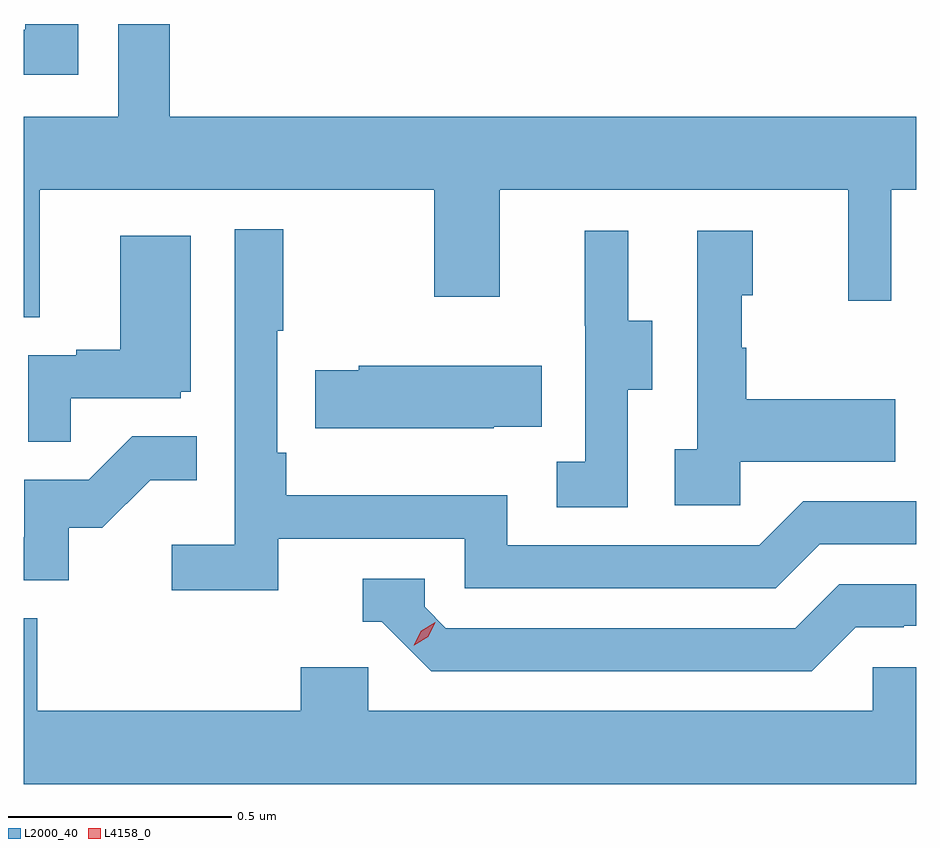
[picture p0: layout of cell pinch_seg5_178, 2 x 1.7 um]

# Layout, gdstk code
import gdstk
lib = gdstk.Library(unit=1e-6, precision=1e-09)
def P(c, l, *ps):  # polygons
    for p in ps: c.add(gdstk.Polygon(p, *l))
L2000_40 = (2000, 40)
L4158_0 = (4158, 0)

pinch_seg5_178 = lib.new_cell('pinch_seg5_178')
P(pinch_seg5_178, L2000_40, [(1115.545,883.4),(1116.43,883.4),(1116.43,883.161),(1116.577,883.161),(1116.577,883.4),(1117.358,883.4),(1117.358,883.152),(1117.455,883.152),(1117.455,883.4),(1117.51,883.4),(1117.51,883.564),(1115.837,883.564),(1115.837,883.772),(1115.721,883.772),(1115.721,883.564),(1115.51,883.564),(1115.51,883.114),(1115.545,883.114)],
  [(1115.632,883.772),(1115.513,883.772),(1115.513,883.759),(1115.51,883.759),(1115.51,883.658),(1115.632,883.658)],
  [(1116.08,882.618),(1116.498,882.618),(1116.498,882.507),(1117.195,882.507),(1117.294,882.606),(1117.51,882.606),(1117.51,882.702),(1117.257,882.702),(1117.158,882.603),(1116.594,882.603),(1116.594,882.715),(1116.098,882.715),(1116.098,882.811),(1116.078,882.811),(1116.078,883.084),(1116.091,883.084),(1116.091,883.312),(1115.982,883.312),(1115.982,882.604),(1115.841,882.604),(1115.841,882.502),(1116.08,882.502)],
  [(1117.116,882.791),(1117.463,882.791),(1117.463,882.931),(1117.129,882.931),(1117.129,883.046),(1117.119,883.046),(1117.119,883.164),(1117.144,883.164),(1117.144,883.309),(1117.02,883.309),(1117.02,882.818),(1116.969,882.818),(1116.969,882.693),(1117.116,882.693)],
  [(1116.864,882.952),(1116.919,882.952),(1116.919,883.107),(1116.865,883.107),(1116.865,883.309),(1116.767,883.309),(1116.767,883.095),(1116.768,883.095),(1116.768,882.791),(1116.705,882.791),(1116.705,882.688),(1116.864,882.688)],
  [(1115.615,882.933),(1115.862,882.933),(1115.862,882.948),(1115.884,882.948),(1115.884,883.297),(1115.726,883.297),(1115.726,883.042),(1115.627,883.042),(1115.627,883.029),(1115.52,883.029),(1115.52,882.835),(1115.615,882.835)],
  [(1116.563,882.869),(1116.671,882.869),(1116.671,883.006),(1116.261,883.006),(1116.261,882.996),(1116.163,882.996),(1116.163,882.866),(1116.563,882.866)],
  [(1115.61,882.642),(1115.686,882.642),(1115.793,882.749),(1115.897,882.749),(1115.897,882.848),(1115.753,882.848),(1115.655,882.75),(1115.511,882.75),(1115.511,882.621),(1115.51,882.621),(1115.51,882.525),(1115.61,882.525)],
  [(1117.375,882.42),(1117.482,882.42),(1117.482,882.423),(1117.51,882.423),(1117.51,882.516),(1117.338,882.516),(1117.239,882.417),(1116.456,882.417),(1116.408,882.465),(1116.408,882.528),(1116.269,882.528),(1116.269,882.432),(1116.312,882.432),(1116.423,882.321),(1117.276,882.321)],
  [(1117.51,882.33),(1117.413,882.33),(1117.413,882.232),(1116.282,882.232),(1116.282,882.33),(1116.131,882.33),(1116.131,882.232),(1115.54,882.232),(1115.54,882.44),(1115.51,882.44),(1115.51,882.068),(1117.51,882.068)])
P(pinch_seg5_178, L4158_0, [(1116.384,882.379),(1116.384,882.379),(1116.401,882.412),(1116.432,882.431),(1116.432,882.431),(1116.432,882.431),(1116.416,882.398),(1116.385,882.379)])

lib.write_gds('pinch_seg5_178.gds')
